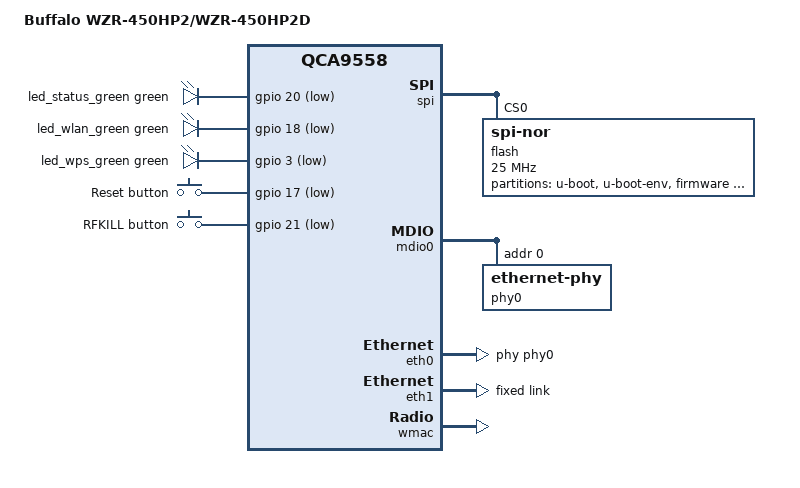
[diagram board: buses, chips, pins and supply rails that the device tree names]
// SPDX-License-Identifier: GPL-2.0-or-later OR MIT

#include "qca955x.dtsi"

#include <dt-bindings/gpio/gpio.h>
#include <dt-bindings/input/input.h>
#include <dt-bindings/leds/common.h>

/ {
	compatible = "buffalo,wzr-450hp2", "qca,qca9558";
	model = "Buffalo WZR-450HP2/WZR-450HP2D";

	aliases {
		led-boot = &led_status_green;
		led-failsafe = &led_status_green;
		led-running = &led_status_green;
		led-upgrade = &led_status_green;
		label-mac-device = &eth0;
	};

	leds {
		compatible = "gpio-leds";

		led_status_green: status_green {
			function = LED_FUNCTION_STATUS;
			color = <LED_COLOR_ID_GREEN>;
			gpios = <&gpio 20 GPIO_ACTIVE_LOW>;
			default-state = "on";
		};

		led_wlan_green: wlan_green {
			function = LED_FUNCTION_WLAN;
			color = <LED_COLOR_ID_GREEN>;
			gpios = <&gpio 18 GPIO_ACTIVE_LOW>;
			linux,default-trigger = "phy0tpt";
		};

		led_wps_green: wps_green {
			function = LED_FUNCTION_WPS;
			color = <LED_COLOR_ID_GREEN>;
			gpios = <&gpio 3 GPIO_ACTIVE_LOW>;
		};
	};

	keys {
		compatible = "gpio-keys";

		reset {
			label = "Reset button";
			linux,code = <KEY_RESTART>;
			gpios = <&gpio 17 GPIO_ACTIVE_LOW>;
			debounce-interval = <60>;
		};

		rfkill {
		       label = "RFKILL button";
		       linux,code = <KEY_RFKILL>;
		       gpios = <&gpio 21 GPIO_ACTIVE_LOW>;
		       debounce-interval = <60>;
		};
	};
};

&spi {
	status = "okay";

	flash@0 {
		compatible = "jedec,spi-nor";
		reg = <0>;
		spi-max-frequency = <25000000>;

		partitions {
			compatible = "fixed-partitions";
			#address-cells = <1>;
			#size-cells = <1>;

			partition@0 {
				label = "u-boot";
				reg = <0x0 0x40000>;
				read-only;
			};

			partition@40000 {
				reg = <0x40000 0x10000>;
				label = "u-boot-env";
			};

			partition@50000 {
				compatible = "denx,uimage";
				reg = <0x50000 0xf90000>;
				label = "firmware";
			};

			partition@fe0000 {
				reg = <0xfe0000 0x10000>;
				label = "user_property";
				read-only;
			};

			art: partition@ff0000 {
				label = "art";
				reg = <0xff0000 0x10000>;
				read-only;

				nvmem-layout {
					compatible = "fixed-layout";
					#address-cells = <1>;
					#size-cells = <1>;

					macaddr_wan: macaddr@0 {
						reg = <0x0 0x6>;
					};

					macaddr_lan: macaddr@6 {
						reg = <0x6 0x6>;
					};

					cal_ath9k: cal_ath9k@1000 {
						reg = <0x1000 0x440>;
					};
				};
			};
		};
	};
};

&mdio0 {
	status = "okay";

	phy0: ethernet-phy@0 {
		reg = <0>;

		qca,ar8327-initvals = <
			0x04 0x07600000 /* PORT0 PAD MODE CTRL: RGMII, to eth0 */
			0x0c 0x00080080 /* PORT6 PAD MODE CTRL: SGMII, to eth1 */
			0x10 0x81000080 /* POWER ON STRAP */
			0x50 0xcc35cc35 /* LED_CTRL0 */
			0x54 0xca35ca35 /* LED_CTRL1 */
			0x58 0xc935c935 /* LED_CTRL2 */
			0x5c 0x03ffff00 /* LED_CTRL3 */
			0x7c 0x0000007e /* PORT0_STATUS */
			0x94 0x0000007e /* PORT6_STATUS */
		>;
	};
};

&eth0 {
	status = "okay";

	nvmem-cells = <&macaddr_wan>;
	nvmem-cell-names = "mac-address";
	phy-handle = <&phy0>;
	pll-data = <0x56000000 0x00000101 0x00001616>;

	gmac-config {
		device = <&gmac>;
		rgmii-enabled = <1>;
	};
};

&eth1 {
	status = "okay";

	nvmem-cells = <&macaddr_lan>;
	nvmem-cell-names = "mac-address";
	pll-data = <0x03000101 0x00000101 0x00001616>;

	fixed-link {
		speed = <1000>;
		full-duplex;
	};
};

&wmac {
	status = "okay";

	nvmem-cells = <&cal_ath9k>;
	nvmem-cell-names = "calibration";
};
